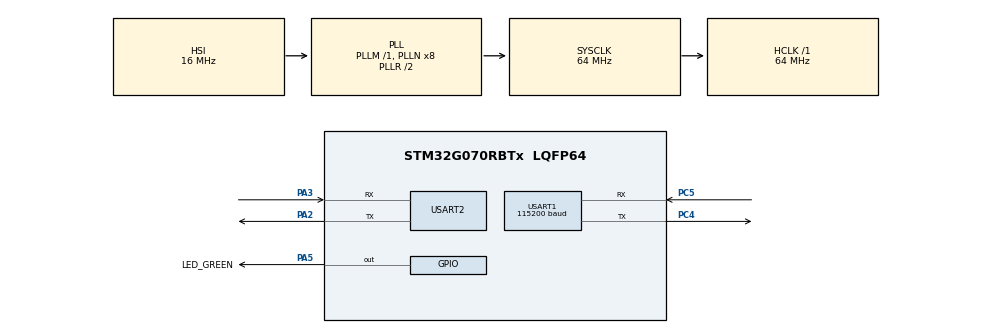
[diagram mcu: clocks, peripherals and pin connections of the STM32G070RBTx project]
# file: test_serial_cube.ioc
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Mcu.Family=STM32G0
Mcu.Name=STM32G070RBTx
Mcu.Package=LQFP64
NVIC.TIM3_IRQn=true\:0\:0\:false\:false\:true\:true\:true\:true
NVIC.USART1_IRQn=true\:0\:0\:false\:false\:true\:true\:true\:true
NVIC.USART2_IRQn=true\:0\:0\:false\:false\:true\:true\:true\:true
PA13.GPIO_Label=TMS
PA13.Mode=Serial_Wire
PA13.Signal=SYS_SWDIO
PA14-BOOT0.GPIO_Label=TCK
PA14-BOOT0.Mode=Serial_Wire
PA14-BOOT0.Signal=SYS_SWCLK
PA2.GPIO_PuPd=GPIO_PULLUP
PA2.Mode=Asynchronous
PA2.Signal=USART2_TX
PA3.GPIO_PuPd=GPIO_PULLUP
PA3.Mode=Asynchronous
PA3.Signal=USART2_RX
PA5.GPIO_Label=LED_GREEN
PA5.GPIO_Speed=GPIO_SPEED_FREQ_HIGH
PA5.Signal=GPIO_Output
PC13.Mode=SYS_WakeUp1
PC13.Signal=SYS_WKUP2
PC14-OSC32_IN\ (PC14).Mode=LSE-External-Oscillator
PC14-OSC32_IN\ (PC14).Signal=RCC_OSC32_IN
PC15-OSC32_OUT\ (PC15).Mode=LSE-External-Oscillator
PC15-OSC32_OUT\ (PC15).Signal=RCC_OSC32_OUT
PC4.GPIO_PuPd=GPIO_PULLDOWN
PC4.GPIO_Speed=GPIO_SPEED_FREQ_HIGH
PC4.Mode=Asynchronous
PC4.PinState=GPIO_PIN_RESET
PC4.Signal=USART1_TX
PC5.GPIO_PuPd=GPIO_PULLDOWN
PC5.GPIO_Speed=GPIO_SPEED_FREQ_HIGH
PC5.Mode=Asynchronous
PC5.PinState=GPIO_PIN_RESET
PC5.Signal=USART1_RX
PF0-OSC_IN\ (PF0).GPIO_Label=MCO
PF0-OSC_IN\ (PF0).Mode=HSE-External-Clock-Source
PF0-OSC_IN\ (PF0).Signal=RCC_OSC_IN
ProjectManager.HeapSize=0x200
ProjectManager.StackSize=0x400
ProjectManager.TargetToolchain=STM32CubeIDE
RCC.ADCFreq_Value=64000000
RCC.AHBFreq_Value=64000000
RCC.CortexFreq_Value=64000000
RCC.EXTERNAL_CLOCK_VALUE=12288000
RCC.HCLKFreq_Value=64000000
RCC.HSE_VALUE=8000000
RCC.HSI_VALUE=16000000
RCC.SYSCLKFreq_VALUE=64000000
RCC.SYSCLKSource=RCC_SYSCLKSOURCE_PLLCLK
RCC.VCOOutputFreq_Value=128000000
TIM3.AutoReloadPreload=TIM_AUTORELOAD_PRELOAD_ENABLE
TIM3.Period=499
TIM3.Prescaler=63999
USART1.BaudRate=115200
USART1.Parity=PARITY_NONE
USART1.StopBits=STOPBITS_1
USART1.VirtualMode-Asynchronous=VM_ASYNC
USART1.WordLength=WORDLENGTH_8B
USART2.VirtualMode-Asynchronous=VM_ASYNC
USART2.WordLength=WORDLENGTH_8B
VP_TIM3_VS_ClockSourceINT.Mode=Internal
board=NUCLEO-G070RB

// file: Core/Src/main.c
/* USER CODE BEGIN Header */
/**
  ******************************************************************************
  * @file           : main.c
  * @brief          : Main program body
  ******************************************************************************
  * @attention
  *
  * Copyright (c) 2023 STMicroelectronics.
  * All rights reserved.
  *
  * This software is licensed under terms that can be found in the LICENSE file
  * in the root directory of this software component.
  * If no LICENSE file comes with this software, it is provided AS-IS.
  *
  ******************************************************************************
  */
/* USER CODE END Header */
#include "main.h"
#include "tim.h"
#include "usart.h"
#include "gpio.h"

/* USER CODE BEGIN Includes */
#include "ardupilotmega/mavlink.h"
#include "common/mavlink.h"
/* USER CODE END Includes */

/* USER CODE BEGIN PD */
#define SYSTEM_ID 		0
#define COMPONENT_ID 	1
/* USER CODE END PD */

void SystemClock_Config(void);

/* USER CODE BEGIN 0 */

mavlink_autopilot_version_t test_mavlink_Rx = {0};
mavlink_autopilot_version_request_t test_mavlink_Tx = {
		.target_component = COMPONENT_ID,
		.target_system = SYSTEM_ID
};
mavlink_status_t status;
mavlink_message_t msg_rx;
uint8_t Rx_byte = 0;

void transmit_mavlink(mavlink_autopilot_version_request_t *temp, UART_HandleTypeDef *huart){

	mavlink_message_t msg;

	uint8_t buffer[100] = {0};

	mavlink_msg_autopilot_version_request_encode(SYSTEM_ID, COMPONENT_ID, &msg, temp);

	uint8_t len = mavlink_msg_to_send_buffer(buffer, &msg);

	HAL_UART_Transmit(huart, buffer, len, 1000);
}

void HAL_UART_RxCpltCallback(UART_HandleTypeDef *huart) {

	if (HAL_UART_Receive_IT(&huart1, &Rx_byte, 1) == HAL_OK){

		if (mavlink_parse_char(COMPONENT_ID, Rx_byte, &msg_rx, &status)){

			if (msg_rx.msgid == MAVLINK_MSG_ID_AUTOPILOT_VERSION){

				mavlink_msg_autopilot_version_decode(&msg_rx, &test_mavlink_Rx);
			}
		}
	}
}

void HAL_TIM_PeriodElapsedCallback(TIM_HandleTypeDef *htim){

	HAL_GPIO_TogglePin(LED_GREEN_GPIO_Port, LED_GREEN_Pin);
}
/* USER CODE END 0 */

int main(void)
{

  /* MCU Configuration--------------------------------------------------------*/

  /* Reset of all peripherals, Initializes the Flash interface and the Systick. */
  HAL_Init();

  /* Configure the system clock */
  SystemClock_Config();

  /* Initialize all configured peripherals */
  MX_GPIO_Init();
  MX_USART2_UART_Init();
  MX_USART1_UART_Init();
  MX_TIM3_Init();
  /* USER CODE BEGIN 2 */
  HAL_UART_Receive_IT(&huart1, &Rx_byte, 1);
  HAL_TIM_Base_Start_IT(&htim3);
  /* USER CODE END 2 */

  /* Infinite loop */
  /* USER CODE BEGIN WHILE */
  while (1)
  {
	  transmit_mavlink(&test_mavlink_Tx, &huart1);
    /* USER CODE END WHILE */

  }
}

void SystemClock_Config(void)
{
  RCC_OscInitTypeDef RCC_OscInitStruct = {0};
  RCC_ClkInitTypeDef RCC_ClkInitStruct = {0};

  /** Configure the main internal regulator output voltage
  */
  HAL_PWREx_ControlVoltageScaling(PWR_REGULATOR_VOLTAGE_SCALE1);

  /** Initializes the RCC Oscillators according to the specified parameters
  * in the RCC_OscInitTypeDef structure.
  */
  RCC_OscInitStruct.OscillatorType = RCC_OSCILLATORTYPE_HSI;
  RCC_OscInitStruct.HSIState = RCC_HSI_ON;
  RCC_OscInitStruct.HSIDiv = RCC_HSI_DIV1;
  RCC_OscInitStruct.HSICalibrationValue = RCC_HSICALIBRATION_DEFAULT;
  RCC_OscInitStruct.PLL.PLLState = RCC_PLL_ON;
  RCC_OscInitStruct.PLL.PLLSource = RCC_PLLSOURCE_HSI;
  RCC_OscInitStruct.PLL.PLLM = RCC_PLLM_DIV1;
  RCC_OscInitStruct.PLL.PLLN = 8;
  RCC_OscInitStruct.PLL.PLLP = RCC_PLLP_DIV2;
  RCC_OscInitStruct.PLL.PLLR = RCC_PLLR_DIV2;
  if (HAL_RCC_OscConfig(&RCC_OscInitStruct) != HAL_OK)
  {
    Error_Handler();
  }

  /** Initializes the CPU, AHB and APB buses clocks
  */
  RCC_ClkInitStruct.ClockType = RCC_CLOCKTYPE_HCLK|RCC_CLOCKTYPE_SYSCLK
                              |RCC_CLOCKTYPE_PCLK1;
  RCC_ClkInitStruct.SYSCLKSource = RCC_SYSCLKSOURCE_PLLCLK;
  RCC_ClkInitStruct.AHBCLKDivider = RCC_SYSCLK_DIV1;
  RCC_ClkInitStruct.APB1CLKDivider = RCC_HCLK_DIV1;

  if (HAL_RCC_ClockConfig(&RCC_ClkInitStruct, FLASH_LATENCY_2) != HAL_OK)
  {
    Error_Handler();
  }
}

void Error_Handler(void)
{
  __disable_irq();
  while (1)
  {
  }
}
